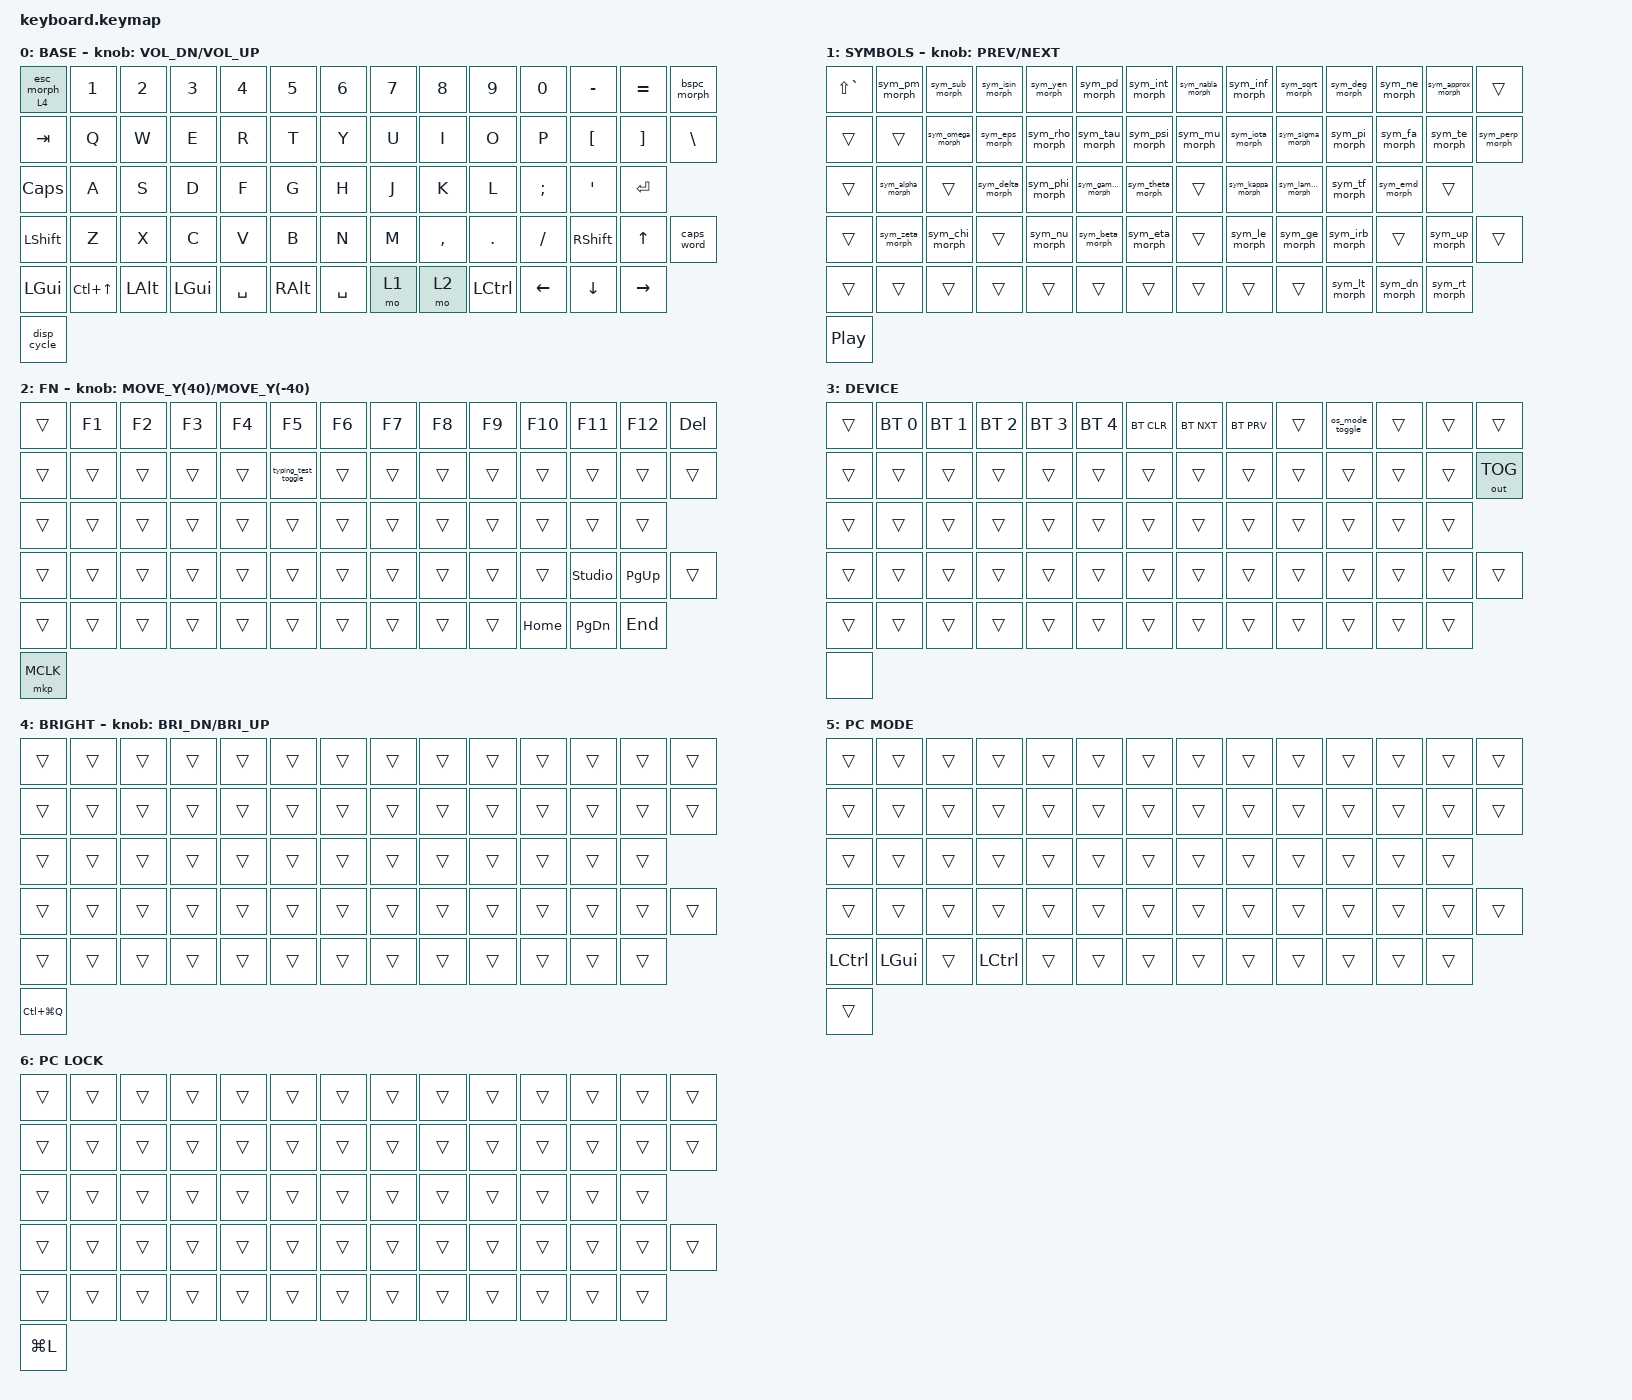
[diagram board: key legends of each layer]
#include <behaviors.dtsi>
#include <dt-bindings/zmk/keys.h>
#include <dt-bindings/zmk/bt.h>
#include <dt-bindings/zmk/outputs.h>
#include <dt-bindings/zmk/pointing.h>

/* Layer structure (index = declaration order in `keymap { }` below):
 *   0  default_layer — base QWERTY, Mac-correct modifiers (see below)
 *   1  sym_layer     — pure symbol layer (Espanso triggers)  (hold ⊃/COL9, &mo 1)
 *   2  fn_layer      — F-keys, navigation, studio/typing    (hold f/COL10, &mo 2)
 *   3  device_layer   — BT management + Mac/PC mode switch  (conditional: ⊃+f held)
 *   4  esc_layer      — brightness/lock                     (hold Esc)
 *   5  pc_mods        — PC-mode modifier overrides           (&tog 5, from
 *                        device_layer's `0` key)
 *   6  pc_lock_layer  — PC-specific lock shortcut override   (conditional:
 *                        esc_layer(4) + pc_mods(5) both active)
 *   7-9 extra1-3      — reserved for ZMK Studio expansion
 *
 * NOTE: extra1-3 shifted from indices 3-5 to 7-9 in this revision (device_layer,
 * esc_layer, pc_mods, pc_lock_layer were inserted before them). Any existing
 * ZMK Studio customizations on this board are keyed to the OLD indices — run
 * "Restore Stock Settings" in Studio after flashing before re-customizing.
 *
 * Symbols are NOT Unicode-macro'd by the firmware (REVISED — see git history:
 * the original urob/zmk-unicode approach needed macOS's Unicode Hex Input to be
 * the *active* input source, which was unworkable for a user with multiple input
 * sources typing symbols one at a time). Instead, sym_layer keys type a plain
 * ASCII trigger string (e.g. `;;pi`) via ordinary &kp taps, and a host-side text
 * expander (Espanso — https://espanso.org, identical config on macOS/Windows)
 * replaces it with the glyph. This makes symbol output fully OS-agnostic with no
 * firmware-side OS awareness needed at all — see each sym_* macro below and
 * README.md for the full trigger table and Espanso setup.
 *
 * Encoder (sensor index 0) — see keymap.c resolution: highest active layer with a
 * `sensor-bindings` entry wins; layers that omit it fall through to the next one
 * down while still active (e.g. device_layer omits it on purpose; see below).
 *   default      CW=Vol+       CCW=Vol-      push=&disp_cycle (next display mode)
 *   sym (⊃)      CW=next trk   CCW=prev trk  push=play/pause
 *   fn (f)       CW=scroll up  CCW=scroll dn push=middle-click (inverted from
 *                the original CW=down/CCW=up, and 4x speed — see fn_layer)
 *   device (⊃+f) — no sensor-bindings; rotation falls through to fn_layer's
 *                  scroll (harmless — same fallthrough philosophy as device_layer's
 *                  &trans key positions). push=&none
 *   esc (hold)   CW=brightness up  CCW=brightness down  push=lock screen
 *                (Ctrl+Cmd+Q on Mac/default; Win+L on PC — see pc_lock_layer)
 *
 * Esc key (base position 0, was &kp GRAVE):
 *   tap            → ESC
 *   shift+tap      → ` (GRAVE, via mod-morph)
 *   ⊃ held+tap     → ~ (LS(GRAVE), lives on sym_layer, not this behavior)
 *   hold           → esc_layer (brightness/lock)
 *
 * Row3/COL14 (was &kp DEL) → &caps_word. Delete lives on fn_layer + Backspace.
 * combo_sys_reset still targets key position 54 (now the Caps Word key) — combos
 * bind by physical position, not by what's currently bound there.
 *
 * Mac/PC modifier profile (PRD v2 §2): boot default is now PC/WINDOWS.
 * default_layer's Row4 is still Mac-correct (sends Cmd/Mission Control
 * directly); PC is reached by pc_mods (layer 5) sitting on top, and
 * behavior_os_mode.c activates that layer at boot unless flash holds a stored
 * "Mac" choice. device_layer `0` → &os_mode_toggle: a two-state flip (PC <->
 * Mac) that ALSO writes the new state to settings/NVS so it survives a reboot
 * or firmware reset. Safe as a flip because it's the only binding involved and
 * only exists on the momentary device layer — it can never fire during normal
 * typing (pc_mods is &trans at that position, so `0` always types a zero
 * outside of holding ⊃+f). Right `<>` (COL11) deliberately stays Control in
 * both modes — see pc_mods layer comment below. */

/ {
    behaviors {
        /* Sensor-rotate behavior using &msc (mouse scroll) for the fn_layer.
         *
         * REVISION: 32ms (my first attempt) fixed the "queue always cancels
         * before any tick runs" bug (see below) but was still nowhere near
         * enough — it produced literally zero visible scroll. Traced the
         * exact numbers via source (behavior_input_two_axis.c) rather than
         * guessing again: with SCRL_UP/SCRL_DOWN's default speed value
         * (ZMK_POINTING_DEFAULT_SCRL_VAL = 10, dt-bindings/zmk/pointing.h)
         * and &msc's trigger-period-ms (16ms, mouse_scroll.dtsi, unmodified
         * — this project doesn't override the stock &msc node) and
         * acceleration-exponent=0 (uniform speed), each 16ms tick computes
         * move = speed * trigger_period_ms / 1000 = 10*16/1000 = 0.16 — and
         * track_remainder() truncates to an integer HID delta each tick, so
         * a SINGLE tick never emits anything; the fractional 0.16 has to
         * accumulate across MULTIPLE ticks before crossing 1.0. Worked out
         * precisely: tick 7 (112ms of continuous "press") is the first tick
         * that ever emits a real unit; tick 13 (208ms) the second. 32ms only
         * covered ticks 1-2, both emitting exactly 0 — hence "zero movement,
         * ever," not "weak movement." tap-ms=220 covers both the 112ms and
         * 208ms thresholds with margin, giving ~2 real scroll units per
         * detent. This value trades off directly against real-time feel per
         * click; raise it for a stronger scroll per detent, lower it (not
         * below ~120ms) for a lighter one — but don't go below ~112ms or
         * you're back to the "nothing happens" case for slow/light turns. */
        inc_dec_msc: inc_dec_msc {
            compatible = "zmk,behavior-sensor-rotate-var";
            #sensor-binding-cells = <2>;
            tap-ms = <220>;
            bindings = <&msc>, <&msc>;
        };

        /* Display-mode cycle behavior (encoder push, default layer only). */
        disp_cycle: disp_cycle {
            compatible = "zmk,behavior-disp-cycle";
            #binding-cells = <0>;
            tapping-term-ms = <500>;
        };

        /* Typing-test toggle behavior (fn_layer, T). */
        typing_test_toggle: typing_test_toggle {
            compatible = "zmk,behavior-typing-test";
            #binding-cells = <0>;
        };

        /* Mac/PC OS-mode toggle (device_layer, `0`) — PRD v2 §2.
         * Flips pc_mods (layer 5) like the old &tog 5, but also persists the
         * choice to settings/NVS and restores it on boot. Boot default (no
         * stored value) is PC/Windows. See behavior_os_mode.c. */
        os_mode_toggle: os_mode_toggle {
            compatible = "zmk,behavior-os-mode";
            #binding-cells = <0>;
            layer = <5>;
        };

        /* Esc key: tap → ESC, shift+tap → GRAVE. Tap side of esc_ht below. */
        esc_morph: esc_morph {
            compatible = "zmk,behavior-mod-morph";
            #binding-cells = <0>;
            bindings = <&kp ESC>, <&kp GRAVE>;
            mods = <(MOD_LSFT|MOD_RSFT)>;
        };

        /* Esc key: hold → esc_layer (index 4). Tap → esc_morph above.
         * esc_morph takes 0 params; the tap-side param at the use site
         * (`&esc_ht 4 0`) is a required-but-unread dummy — verified against
         * behavior_hold_tap.c / behavior_mod_morph.c: mod-morph's parameter
         * metadata is explicitly empty (zmk_behavior_get_empty_param_metadata)
         * and its handler never reads binding->param1. */
        esc_ht: esc_hold_tap {
            compatible = "zmk,behavior-hold-tap";
            #binding-cells = <2>;
            flavor = "tap-preferred";
            tapping-term-ms = <200>;
            bindings = <&mo>, <&esc_morph>;
            display-name = "Esc Hold-Tap";
        };

        /* Suppresses Shift from the outgoing HID report between press and
         * release — see behaviors/behavior_shift_mask.c. Used inside all
         * 45 "_upper"/"_shift" macros below, invoked from &shift_branch
         * (behavior_shift_branch.c), not zmk,behavior-mod-morph — see the
         * "Uppercase Greek" comment below for why plain mod-morph doesn't
         * work here. */
        shift_mask: shift_mask {
            compatible = "zmk,behavior-shift-mask";
            #binding-cells = <0>;
        };

        /* sym_layer symbol macros — each types a plain ASCII Espanso trigger
         * (";;" + mnemonic), which a host-side Espanso match file (see
         * espanso/symbols.yml and README.md) expands into the actual glyph.
         * Naming convention: sym_<trigger-without-;;>. wait-ms/tap-ms start at
         * 5ms — Espanso has to see each individual keystroke to detect the
         * trigger, and firmware injection is much faster than human typing;
         * raise these (10-15) if triggers get missed in testing before
         * assuming anything else is wrong. Never wrap these in anything that
         * could apply Shift — a shifted trigger (e.g. "::PI") won't match and
         * will emit literal junk instead.
         *
         * Confirmed working end-to-end (both macOS and Windows/Espanso) as of
         * the commit that wired up the first 3 (sym_pi/sym_isin/sym_rt); all
         * 45 are now defined and wired into sym_layer below. */
        ZMK_MACRO(sym_pi, wait-ms = <5>; tap-ms = <5>;
                  bindings = <&kp SEMI &kp SEMI &kp P &kp I>;)
        ZMK_MACRO(sym_isin, wait-ms = <5>; tap-ms = <5>;
                  bindings = <&kp SEMI &kp SEMI &kp I &kp S &kp I &kp N>;)
        ZMK_MACRO(sym_rt, wait-ms = <5>; tap-ms = <5>;
                  bindings = <&kp SEMI &kp SEMI &kp R &kp T>;)

        /* ── Greek letters ──────────────────────────────────────────── */
        ZMK_MACRO(sym_alpha, wait-ms = <5>; tap-ms = <5>;
                  bindings = <&kp SEMI &kp SEMI &kp A &kp L &kp P &kp H &kp A>;)
        ZMK_MACRO(sym_beta, wait-ms = <5>; tap-ms = <5>;
                  bindings = <&kp SEMI &kp SEMI &kp B &kp E &kp T &kp A>;)
        ZMK_MACRO(sym_gamma, wait-ms = <5>; tap-ms = <5>;
                  bindings = <&kp SEMI &kp SEMI &kp G &kp A &kp M &kp M &kp A>;)
        ZMK_MACRO(sym_delta, wait-ms = <5>; tap-ms = <5>;
                  bindings = <&kp SEMI &kp SEMI &kp D &kp E &kp L &kp T &kp A>;)
        ZMK_MACRO(sym_eps, wait-ms = <5>; tap-ms = <5>;
                  bindings = <&kp SEMI &kp SEMI &kp E &kp P &kp S>;)
        ZMK_MACRO(sym_zeta, wait-ms = <5>; tap-ms = <5>;
                  bindings = <&kp SEMI &kp SEMI &kp Z &kp E &kp T &kp A>;)
        ZMK_MACRO(sym_eta, wait-ms = <5>; tap-ms = <5>;
                  bindings = <&kp SEMI &kp SEMI &kp E &kp T &kp A>;)
        ZMK_MACRO(sym_theta, wait-ms = <5>; tap-ms = <5>;
                  bindings = <&kp SEMI &kp SEMI &kp T &kp H &kp E &kp T &kp A>;)
        ZMK_MACRO(sym_iota, wait-ms = <5>; tap-ms = <5>;
                  bindings = <&kp SEMI &kp SEMI &kp I &kp O &kp T &kp A>;)
        ZMK_MACRO(sym_kappa, wait-ms = <5>; tap-ms = <5>;
                  bindings = <&kp SEMI &kp SEMI &kp K &kp A &kp P &kp P &kp A>;)
        ZMK_MACRO(sym_lambda, wait-ms = <5>; tap-ms = <5>;
                  bindings = <&kp SEMI &kp SEMI &kp L &kp A &kp M &kp B &kp D &kp A>;)
        ZMK_MACRO(sym_mu, wait-ms = <5>; tap-ms = <5>;
                  bindings = <&kp SEMI &kp SEMI &kp M &kp U>;)
        ZMK_MACRO(sym_nu, wait-ms = <5>; tap-ms = <5>;
                  bindings = <&kp SEMI &kp SEMI &kp N &kp U>;)
        ZMK_MACRO(sym_rho, wait-ms = <5>; tap-ms = <5>;
                  bindings = <&kp SEMI &kp SEMI &kp R &kp H &kp O>;)
        ZMK_MACRO(sym_sigma, wait-ms = <5>; tap-ms = <5>;
                  bindings = <&kp SEMI &kp SEMI &kp S &kp I &kp G &kp M &kp A>;)
        ZMK_MACRO(sym_tau, wait-ms = <5>; tap-ms = <5>;
                  bindings = <&kp SEMI &kp SEMI &kp T &kp A &kp U>;)
        ZMK_MACRO(sym_phi, wait-ms = <5>; tap-ms = <5>;
                  bindings = <&kp SEMI &kp SEMI &kp P &kp H &kp I>;)
        ZMK_MACRO(sym_chi, wait-ms = <5>; tap-ms = <5>;
                  bindings = <&kp SEMI &kp SEMI &kp C &kp H &kp I>;)
        ZMK_MACRO(sym_psi, wait-ms = <5>; tap-ms = <5>;
                  bindings = <&kp SEMI &kp SEMI &kp P &kp S &kp I>;)
        ZMK_MACRO(sym_omega, wait-ms = <5>; tap-ms = <5>;
                  bindings = <&kp SEMI &kp SEMI &kp O &kp M &kp E &kp G &kp A>;)

        /* ── Uppercase Greek: ⊃ + Shift + letter ──────────────────────
         * Each Greek key position (in sym_layer, below) is wrapped in a
         * &shift_branch (behaviors/behavior_shift_branch.c) that picks
         * between the lowercase macro above and one of these "_upper"
         * macros when Shift is held.
         *
         * REVISION 1: originally used &shift_mask alone, invoked by a
         * plain zmk,behavior-mod-morph — broke the moment Shift was held
         * across MULTIPLE letters (the normal "hold shift, type several
         * capitals" gesture), because these macros' queued keystroke
         * sequences run asynchronously and can take longer to drain than
         * the physical letter key is held.
         *
         * REVISION 2: adding &shift_mask (invoked via &macro_press/
         * &macro_release inside each macro, scoped to that macro's own
         * start-to-finish window) was necessary but NOT sufficient —
         * mod-morph's own on_mod_morph_binding_released() ALSO
         * unconditionally calls zmk_hid_masked_modifiers_clear() tied to
         * the physical letter key's release. Both mechanisms write the
         * SAME global masked_modifiers variable (zmk/hid.c) — a flat
         * set/clear, not reference-counted — so mod-morph's own clear
         * could still fire in the middle of a macro's masked window and
         * wipe it out early, letting the tail of the trigger text go out
         * shifted again. Confirmed as the actual reason it kept breaking.
         *
         * FIX: &shift_branch is a mod-morph clone with the masking side
         * effect surgically removed — it does ONLY the branching
         * decision. &shift_mask (still invoked from inside each macro,
         * unchanged) is now the ONLY thing touching masked_modifiers, so
         * nothing competes with it. This doesn't touch real key-press
         * state (unlike explicitly injecting &kp LSHFT release/press), so
         * there's no risk of Shift getting "stuck" held if released
         * mid-macro — masking is a pure real-time filter that stops
         * applying the instant &shift_mask itself releases.
         *
         * Trigger text distinguishing: these still need their own
         * distinct trigger rather than relying on case, since masking
         * makes the actual keystrokes sent lowercase-shaped regardless of
         * Shift. ";;;" (3 semicolons, vs. 2 for lowercase) is the
         * distinguishing prefix. Verified: no 2-semi trigger is a prefix
         * of a 3-semi one (they diverge at the 3rd character - ';' vs a
         * letter - for every pair), and no 3-semi trigger is a prefix of
         * another for the same reason the lowercase set already isn't
         * (see espanso/symbols.yml). */
        ZMK_MACRO(sym_alpha_upper, wait-ms = <5>; tap-ms = <5>;
                  bindings = <&macro_press &shift_mask
                              &macro_tap &kp SEMI &kp SEMI &kp SEMI &kp A &kp L &kp P &kp H &kp A
                              &macro_release &shift_mask>;)
        ZMK_MACRO(sym_beta_upper, wait-ms = <5>; tap-ms = <5>;
                  bindings = <&macro_press &shift_mask
                              &macro_tap &kp SEMI &kp SEMI &kp SEMI &kp B &kp E &kp T &kp A
                              &macro_release &shift_mask>;)
        ZMK_MACRO(sym_gamma_upper, wait-ms = <5>; tap-ms = <5>;
                  bindings = <&macro_press &shift_mask
                              &macro_tap &kp SEMI &kp SEMI &kp SEMI &kp G &kp A &kp M &kp M &kp A
                              &macro_release &shift_mask>;)
        ZMK_MACRO(sym_delta_upper, wait-ms = <5>; tap-ms = <5>;
                  bindings = <&macro_press &shift_mask
                              &macro_tap &kp SEMI &kp SEMI &kp SEMI &kp D &kp E &kp L &kp T &kp A
                              &macro_release &shift_mask>;)
        ZMK_MACRO(sym_eps_upper, wait-ms = <5>; tap-ms = <5>;
                  bindings = <&macro_press &shift_mask
                              &macro_tap &kp SEMI &kp SEMI &kp SEMI &kp E &kp P &kp S
                              &macro_release &shift_mask>;)
        ZMK_MACRO(sym_zeta_upper, wait-ms = <5>; tap-ms = <5>;
                  bindings = <&macro_press &shift_mask
                              &macro_tap &kp SEMI &kp SEMI &kp SEMI &kp Z &kp E &kp T &kp A
                              &macro_release &shift_mask>;)
        ZMK_MACRO(sym_eta_upper, wait-ms = <5>; tap-ms = <5>;
                  bindings = <&macro_press &shift_mask
                              &macro_tap &kp SEMI &kp SEMI &kp SEMI &kp E &kp T &kp A
                              &macro_release &shift_mask>;)
        ZMK_MACRO(sym_theta_upper, wait-ms = <5>; tap-ms = <5>;
                  bindings = <&macro_press &shift_mask
                              &macro_tap &kp SEMI &kp SEMI &kp SEMI &kp T &kp H &kp E &kp T &kp A
                              &macro_release &shift_mask>;)
        ZMK_MACRO(sym_iota_upper, wait-ms = <5>; tap-ms = <5>;
                  bindings = <&macro_press &shift_mask
                              &macro_tap &kp SEMI &kp SEMI &kp SEMI &kp I &kp O &kp T &kp A
                              &macro_release &shift_mask>;)
        ZMK_MACRO(sym_kappa_upper, wait-ms = <5>; tap-ms = <5>;
                  bindings = <&macro_press &shift_mask
                              &macro_tap &kp SEMI &kp SEMI &kp SEMI &kp K &kp A &kp P &kp P &kp A
                              &macro_release &shift_mask>;)
        ZMK_MACRO(sym_lambda_upper, wait-ms = <5>; tap-ms = <5>;
                  bindings = <&macro_press &shift_mask
                              &macro_tap &kp SEMI &kp SEMI &kp SEMI &kp L &kp A &kp M &kp B &kp D &kp A
                              &macro_release &shift_mask>;)
        ZMK_MACRO(sym_mu_upper, wait-ms = <5>; tap-ms = <5>;
                  bindings = <&macro_press &shift_mask
                              &macro_tap &kp SEMI &kp SEMI &kp SEMI &kp M &kp U
                              &macro_release &shift_mask>;)
        ZMK_MACRO(sym_nu_upper, wait-ms = <5>; tap-ms = <5>;
                  bindings = <&macro_press &shift_mask
                              &macro_tap &kp SEMI &kp SEMI &kp SEMI &kp N &kp U
                              &macro_release &shift_mask>;)
        ZMK_MACRO(sym_pi_upper, wait-ms = <5>; tap-ms = <5>;
                  bindings = <&macro_press &shift_mask
                              &macro_tap &kp SEMI &kp SEMI &kp SEMI &kp P &kp I
                              &macro_release &shift_mask>;)
        ZMK_MACRO(sym_rho_upper, wait-ms = <5>; tap-ms = <5>;
                  bindings = <&macro_press &shift_mask
                              &macro_tap &kp SEMI &kp SEMI &kp SEMI &kp R &kp H &kp O
                              &macro_release &shift_mask>;)
        ZMK_MACRO(sym_sigma_upper, wait-ms = <5>; tap-ms = <5>;
                  bindings = <&macro_press &shift_mask
                              &macro_tap &kp SEMI &kp SEMI &kp SEMI &kp S &kp I &kp G &kp M &kp A
                              &macro_release &shift_mask>;)
        ZMK_MACRO(sym_tau_upper, wait-ms = <5>; tap-ms = <5>;
                  bindings = <&macro_press &shift_mask
                              &macro_tap &kp SEMI &kp SEMI &kp SEMI &kp T &kp A &kp U
                              &macro_release &shift_mask>;)
        ZMK_MACRO(sym_phi_upper, wait-ms = <5>; tap-ms = <5>;
                  bindings = <&macro_press &shift_mask
                              &macro_tap &kp SEMI &kp SEMI &kp SEMI &kp P &kp H &kp I
                              &macro_release &shift_mask>;)
        ZMK_MACRO(sym_chi_upper, wait-ms = <5>; tap-ms = <5>;
                  bindings = <&macro_press &shift_mask
                              &macro_tap &kp SEMI &kp SEMI &kp SEMI &kp C &kp H &kp I
                              &macro_release &shift_mask>;)
        ZMK_MACRO(sym_psi_upper, wait-ms = <5>; tap-ms = <5>;
                  bindings = <&macro_press &shift_mask
                              &macro_tap &kp SEMI &kp SEMI &kp SEMI &kp P &kp S &kp I
                              &macro_release &shift_mask>;)
        ZMK_MACRO(sym_omega_upper, wait-ms = <5>; tap-ms = <5>;
                  bindings = <&macro_press &shift_mask
                              &macro_tap &kp SEMI &kp SEMI &kp SEMI &kp O &kp M &kp E &kp G &kp A
                              &macro_release &shift_mask>;)

        sym_alpha_morph: sym_alpha_morph {
            compatible = "zmk,behavior-shift-branch";
            #binding-cells = <0>;
            bindings = <&sym_alpha>, <&sym_alpha_upper>;
            mods = <(MOD_LSFT|MOD_RSFT)>;
        };
        sym_beta_morph: sym_beta_morph {
            compatible = "zmk,behavior-shift-branch";
            #binding-cells = <0>;
            bindings = <&sym_beta>, <&sym_beta_upper>;
            mods = <(MOD_LSFT|MOD_RSFT)>;
        };
        sym_gamma_morph: sym_gamma_morph {
            compatible = "zmk,behavior-shift-branch";
            #binding-cells = <0>;
            bindings = <&sym_gamma>, <&sym_gamma_upper>;
            mods = <(MOD_LSFT|MOD_RSFT)>;
        };
        sym_delta_morph: sym_delta_morph {
            compatible = "zmk,behavior-shift-branch";
            #binding-cells = <0>;
            bindings = <&sym_delta>, <&sym_delta_upper>;
            mods = <(MOD_LSFT|MOD_RSFT)>;
        };
        sym_eps_morph: sym_eps_morph {
            compatible = "zmk,behavior-shift-branch";
            #binding-cells = <0>;
            bindings = <&sym_eps>, <&sym_eps_upper>;
            mods = <(MOD_LSFT|MOD_RSFT)>;
        };
        sym_zeta_morph: sym_zeta_morph {
            compatible = "zmk,behavior-shift-branch";
            #binding-cells = <0>;
            bindings = <&sym_zeta>, <&sym_zeta_upper>;
            mods = <(MOD_LSFT|MOD_RSFT)>;
        };
        sym_eta_morph: sym_eta_morph {
            compatible = "zmk,behavior-shift-branch";
            #binding-cells = <0>;
            bindings = <&sym_eta>, <&sym_eta_upper>;
            mods = <(MOD_LSFT|MOD_RSFT)>;
        };
        sym_theta_morph: sym_theta_morph {
            compatible = "zmk,behavior-shift-branch";
            #binding-cells = <0>;
            bindings = <&sym_theta>, <&sym_theta_upper>;
            mods = <(MOD_LSFT|MOD_RSFT)>;
        };
        sym_iota_morph: sym_iota_morph {
            compatible = "zmk,behavior-shift-branch";
            #binding-cells = <0>;
            bindings = <&sym_iota>, <&sym_iota_upper>;
            mods = <(MOD_LSFT|MOD_RSFT)>;
        };
        sym_kappa_morph: sym_kappa_morph {
            compatible = "zmk,behavior-shift-branch";
            #binding-cells = <0>;
            bindings = <&sym_kappa>, <&sym_kappa_upper>;
            mods = <(MOD_LSFT|MOD_RSFT)>;
        };
        sym_lambda_morph: sym_lambda_morph {
            compatible = "zmk,behavior-shift-branch";
            #binding-cells = <0>;
            bindings = <&sym_lambda>, <&sym_lambda_upper>;
            mods = <(MOD_LSFT|MOD_RSFT)>;
        };
        sym_mu_morph: sym_mu_morph {
            compatible = "zmk,behavior-shift-branch";
            #binding-cells = <0>;
            bindings = <&sym_mu>, <&sym_mu_upper>;
            mods = <(MOD_LSFT|MOD_RSFT)>;
        };
        sym_nu_morph: sym_nu_morph {
            compatible = "zmk,behavior-shift-branch";
            #binding-cells = <0>;
            bindings = <&sym_nu>, <&sym_nu_upper>;
            mods = <(MOD_LSFT|MOD_RSFT)>;
        };
        sym_pi_morph: sym_pi_morph {
            compatible = "zmk,behavior-shift-branch";
            #binding-cells = <0>;
            bindings = <&sym_pi>, <&sym_pi_upper>;
            mods = <(MOD_LSFT|MOD_RSFT)>;
        };
        sym_rho_morph: sym_rho_morph {
            compatible = "zmk,behavior-shift-branch";
            #binding-cells = <0>;
            bindings = <&sym_rho>, <&sym_rho_upper>;
            mods = <(MOD_LSFT|MOD_RSFT)>;
        };
        sym_sigma_morph: sym_sigma_morph {
            compatible = "zmk,behavior-shift-branch";
            #binding-cells = <0>;
            bindings = <&sym_sigma>, <&sym_sigma_upper>;
            mods = <(MOD_LSFT|MOD_RSFT)>;
        };
        sym_tau_morph: sym_tau_morph {
            compatible = "zmk,behavior-shift-branch";
            #binding-cells = <0>;
            bindings = <&sym_tau>, <&sym_tau_upper>;
            mods = <(MOD_LSFT|MOD_RSFT)>;
        };
        sym_phi_morph: sym_phi_morph {
            compatible = "zmk,behavior-shift-branch";
            #binding-cells = <0>;
            bindings = <&sym_phi>, <&sym_phi_upper>;
            mods = <(MOD_LSFT|MOD_RSFT)>;
        };
        sym_chi_morph: sym_chi_morph {
            compatible = "zmk,behavior-shift-branch";
            #binding-cells = <0>;
            bindings = <&sym_chi>, <&sym_chi_upper>;
            mods = <(MOD_LSFT|MOD_RSFT)>;
        };
        sym_psi_morph: sym_psi_morph {
            compatible = "zmk,behavior-shift-branch";
            #binding-cells = <0>;
            bindings = <&sym_psi>, <&sym_psi_upper>;
            mods = <(MOD_LSFT|MOD_RSFT)>;
        };
        sym_omega_morph: sym_omega_morph {
            compatible = "zmk,behavior-shift-branch";
            #binding-cells = <0>;
            bindings = <&sym_omega>, <&sym_omega_upper>;
            mods = <(MOD_LSFT|MOD_RSFT)>;
        };

        /* ── Number row: math / logic ──────────────────────────────── */
        ZMK_MACRO(sym_pm, wait-ms = <5>; tap-ms = <5>;
                  bindings = <&kp SEMI &kp SEMI &kp P &kp M>;)
        ZMK_MACRO(sym_sub, wait-ms = <5>; tap-ms = <5>;
                  bindings = <&kp SEMI &kp SEMI &kp S &kp U &kp B>;)
        ZMK_MACRO(sym_yen, wait-ms = <5>; tap-ms = <5>;
                  bindings = <&kp SEMI &kp SEMI &kp Y &kp E &kp N>;)
        ZMK_MACRO(sym_pd, wait-ms = <5>; tap-ms = <5>;
                  bindings = <&kp SEMI &kp SEMI &kp P &kp D>;)
        ZMK_MACRO(sym_int, wait-ms = <5>; tap-ms = <5>;
                  bindings = <&kp SEMI &kp SEMI &kp I &kp N &kp T>;)
        ZMK_MACRO(sym_nabla, wait-ms = <5>; tap-ms = <5>;
                  bindings = <&kp SEMI &kp SEMI &kp N &kp A &kp B &kp L &kp A>;)
        ZMK_MACRO(sym_inf, wait-ms = <5>; tap-ms = <5>;
                  bindings = <&kp SEMI &kp SEMI &kp I &kp N &kp F>;)
        ZMK_MACRO(sym_sqrt, wait-ms = <5>; tap-ms = <5>;
                  bindings = <&kp SEMI &kp SEMI &kp S &kp Q &kp R &kp T>;)
        ZMK_MACRO(sym_deg, wait-ms = <5>; tap-ms = <5>;
                  bindings = <&kp SEMI &kp SEMI &kp D &kp E &kp G>;)
        ZMK_MACRO(sym_ne, wait-ms = <5>; tap-ms = <5>;
                  bindings = <&kp SEMI &kp SEMI &kp N &kp E>;)
        ZMK_MACRO(sym_approx, wait-ms = <5>; tap-ms = <5>;
                  bindings = <&kp SEMI &kp SEMI &kp A &kp P &kp P &kp R &kp O &kp X>;)

        /* ── Brackets & punctuation ────────────────────────────────── */
        ZMK_MACRO(sym_fa, wait-ms = <5>; tap-ms = <5>;
                  bindings = <&kp SEMI &kp SEMI &kp F &kp A>;)
        ZMK_MACRO(sym_te, wait-ms = <5>; tap-ms = <5>;
                  bindings = <&kp SEMI &kp SEMI &kp T &kp E>;)
        ZMK_MACRO(sym_perp, wait-ms = <5>; tap-ms = <5>;
                  bindings = <&kp SEMI &kp SEMI &kp P &kp E &kp R &kp P>;)
        ZMK_MACRO(sym_tf, wait-ms = <5>; tap-ms = <5>;
                  bindings = <&kp SEMI &kp SEMI &kp T &kp F>;)
        ZMK_MACRO(sym_emd, wait-ms = <5>; tap-ms = <5>;
                  bindings = <&kp SEMI &kp SEMI &kp E &kp M &kp D>;)
        ZMK_MACRO(sym_le, wait-ms = <5>; tap-ms = <5>;
                  bindings = <&kp SEMI &kp SEMI &kp L &kp E>;)
        ZMK_MACRO(sym_ge, wait-ms = <5>; tap-ms = <5>;
                  bindings = <&kp SEMI &kp SEMI &kp G &kp E>;)
        ZMK_MACRO(sym_irb, wait-ms = <5>; tap-ms = <5>;
                  bindings = <&kp SEMI &kp SEMI &kp I &kp R &kp B>;)

        /* ── Arrows ────────────────────────────────────────────────── */
        ZMK_MACRO(sym_up, wait-ms = <5>; tap-ms = <5>;
                  bindings = <&kp SEMI &kp SEMI &kp U &kp P>;)
        ZMK_MACRO(sym_dn, wait-ms = <5>; tap-ms = <5>;
                  bindings = <&kp SEMI &kp SEMI &kp D &kp N>;)
        ZMK_MACRO(sym_lt, wait-ms = <5>; tap-ms = <5>;
                  bindings = <&kp SEMI &kp SEMI &kp L &kp T>;)

        /* ── Shift variants for the remaining 24 symbols ──────────────
         * Same mechanism as uppercase Greek above: ⊃ + Shift + key gives
         * a second, related symbol via a &shift_branch + &shift_mask-wrapped
         * macro (see the "Uppercase Greek" comment above for why plain
         * mod-morph doesn't work for this). Naming here is "_shift" rather
         * than "_upper" since these
         * aren't case pairs of one glyph, just a second assigned symbol
         * per key. New symbols and mnemonics (mnemonic is unrelated to
         * the base key's own mnemonic on purpose, so it reads on its own
         * in espanso/symbols.yml):
         *   ± → ⇔ iff        ⊆ → ⊂ psub       ∈ → ∉ nisin      ¥ → € eur
         *   ∂ → ⨀ odot       ∫ → ∮ cint        ∇ → ⊗ otimes     ∞ → ∝ prop
         *   √ → ✓ check      ° → ∅ empty       ≠ → ¬ not        ≈ → ≡ equiv
         *   ∀ → ∧ and        ∃ → ∨ or          ⊥ → ∥ par        — → – endash
         *   ∴ → ∵ bcs        ≤ → ≪ ll          ≥ → ≫ gg         ‽ → ¿ iq
         *   ↑ → ∩ cap        → → ⇒ imp         ↓ → ∪ cup        ← → ⇐ bimp
         * NOTE on → and ←: as given, both were written mapping to the same
         * leftward double arrow (⇐) — almost certainly a copy/paste slip,
         * since ← already naturally pairs with ⇐. Implemented → as ⇒
         * (rightwards double arrow) instead, the consistent counterpart.
         * Flag if that's not what was meant. */
        ZMK_MACRO(sym_pm_shift, wait-ms = <5>; tap-ms = <5>;
                  bindings = <&macro_press &shift_mask
                              &macro_tap &kp SEMI &kp SEMI &kp SEMI &kp I &kp F &kp F
                              &macro_release &shift_mask>;)
        ZMK_MACRO(sym_sub_shift, wait-ms = <5>; tap-ms = <5>;
                  bindings = <&macro_press &shift_mask
                              &macro_tap &kp SEMI &kp SEMI &kp SEMI &kp P &kp S &kp U &kp B
                              &macro_release &shift_mask>;)
        ZMK_MACRO(sym_isin_shift, wait-ms = <5>; tap-ms = <5>;
                  bindings = <&macro_press &shift_mask
                              &macro_tap &kp SEMI &kp SEMI &kp SEMI &kp N &kp I &kp S &kp I &kp N
                              &macro_release &shift_mask>;)
        ZMK_MACRO(sym_yen_shift, wait-ms = <5>; tap-ms = <5>;
                  bindings = <&macro_press &shift_mask
                              &macro_tap &kp SEMI &kp SEMI &kp SEMI &kp E &kp U &kp R
                              &macro_release &shift_mask>;)
        ZMK_MACRO(sym_pd_shift, wait-ms = <5>; tap-ms = <5>;
                  bindings = <&macro_press &shift_mask
                              &macro_tap &kp SEMI &kp SEMI &kp SEMI &kp O &kp D &kp O &kp T
                              &macro_release &shift_mask>;)
        ZMK_MACRO(sym_int_shift, wait-ms = <5>; tap-ms = <5>;
                  bindings = <&macro_press &shift_mask
                              &macro_tap &kp SEMI &kp SEMI &kp SEMI &kp C &kp I &kp N &kp T
                              &macro_release &shift_mask>;)
        ZMK_MACRO(sym_nabla_shift, wait-ms = <5>; tap-ms = <5>;
                  bindings = <&macro_press &shift_mask
                              &macro_tap &kp SEMI &kp SEMI &kp SEMI &kp O &kp T &kp I &kp M &kp E &kp S
                              &macro_release &shift_mask>;)
        ZMK_MACRO(sym_inf_shift, wait-ms = <5>; tap-ms = <5>;
                  bindings = <&macro_press &shift_mask
                              &macro_tap &kp SEMI &kp SEMI &kp SEMI &kp P &kp R &kp O &kp P
                              &macro_release &shift_mask>;)
        ZMK_MACRO(sym_sqrt_shift, wait-ms = <5>; tap-ms = <5>;
                  bindings = <&macro_press &shift_mask
                              &macro_tap &kp SEMI &kp SEMI &kp SEMI &kp C &kp H &kp E &kp C &kp K
                              &macro_release &shift_mask>;)
        ZMK_MACRO(sym_deg_shift, wait-ms = <5>; tap-ms = <5>;
                  bindings = <&macro_press &shift_mask
                              &macro_tap &kp SEMI &kp SEMI &kp SEMI &kp E &kp M &kp P &kp T &kp Y
                              &macro_release &shift_mask>;)
        ZMK_MACRO(sym_ne_shift, wait-ms = <5>; tap-ms = <5>;
                  bindings = <&macro_press &shift_mask
                              &macro_tap &kp SEMI &kp SEMI &kp SEMI &kp N &kp O &kp T
                              &macro_release &shift_mask>;)
        ZMK_MACRO(sym_approx_shift, wait-ms = <5>; tap-ms = <5>;
                  bindings = <&macro_press &shift_mask
                              &macro_tap &kp SEMI &kp SEMI &kp SEMI &kp E &kp Q &kp U &kp I &kp V
                              &macro_release &shift_mask>;)
        ZMK_MACRO(sym_fa_shift, wait-ms = <5>; tap-ms = <5>;
                  bindings = <&macro_press &shift_mask
                              &macro_tap &kp SEMI &kp SEMI &kp SEMI &kp A &kp N &kp D
                              &macro_release &shift_mask>;)
        ZMK_MACRO(sym_te_shift, wait-ms = <5>; tap-ms = <5>;
                  bindings = <&macro_press &shift_mask
                              &macro_tap &kp SEMI &kp SEMI &kp SEMI &kp O &kp R
                              &macro_release &shift_mask>;)
        ZMK_MACRO(sym_perp_shift, wait-ms = <5>; tap-ms = <5>;
                  bindings = <&macro_press &shift_mask
                              &macro_tap &kp SEMI &kp SEMI &kp SEMI &kp P &kp A &kp R
                              &macro_release &shift_mask>;)
        ZMK_MACRO(sym_emd_shift, wait-ms = <5>; tap-ms = <5>;
                  bindings = <&macro_press &shift_mask
                              &macro_tap &kp SEMI &kp SEMI &kp SEMI &kp E &kp N &kp D &kp A &kp S &kp H
                              &macro_release &shift_mask>;)
        ZMK_MACRO(sym_tf_shift, wait-ms = <5>; tap-ms = <5>;
                  bindings = <&macro_press &shift_mask
                              &macro_tap &kp SEMI &kp SEMI &kp SEMI &kp B &kp C &kp S
                              &macro_release &shift_mask>;)
        ZMK_MACRO(sym_le_shift, wait-ms = <5>; tap-ms = <5>;
                  bindings = <&macro_press &shift_mask
                              &macro_tap &kp SEMI &kp SEMI &kp SEMI &kp L &kp L
                              &macro_release &shift_mask>;)
        ZMK_MACRO(sym_ge_shift, wait-ms = <5>; tap-ms = <5>;
                  bindings = <&macro_press &shift_mask
                              &macro_tap &kp SEMI &kp SEMI &kp SEMI &kp G &kp G
                              &macro_release &shift_mask>;)
        ZMK_MACRO(sym_irb_shift, wait-ms = <5>; tap-ms = <5>;
                  bindings = <&macro_press &shift_mask
                              &macro_tap &kp SEMI &kp SEMI &kp SEMI &kp I &kp Q
                              &macro_release &shift_mask>;)
        ZMK_MACRO(sym_up_shift, wait-ms = <5>; tap-ms = <5>;
                  bindings = <&macro_press &shift_mask
                              &macro_tap &kp SEMI &kp SEMI &kp SEMI &kp C &kp A &kp P
                              &macro_release &shift_mask>;)
        ZMK_MACRO(sym_rt_shift, wait-ms = <5>; tap-ms = <5>;
                  bindings = <&macro_press &shift_mask
                              &macro_tap &kp SEMI &kp SEMI &kp SEMI &kp I &kp M &kp P
                              &macro_release &shift_mask>;)
        ZMK_MACRO(sym_dn_shift, wait-ms = <5>; tap-ms = <5>;
                  bindings = <&macro_press &shift_mask
                              &macro_tap &kp SEMI &kp SEMI &kp SEMI &kp C &kp U &kp P
                              &macro_release &shift_mask>;)
        ZMK_MACRO(sym_lt_shift, wait-ms = <5>; tap-ms = <5>;
                  bindings = <&macro_press &shift_mask
                              &macro_tap &kp SEMI &kp SEMI &kp SEMI &kp B &kp I &kp M &kp P
                              &macro_release &shift_mask>;)

        sym_pm_morph: sym_pm_morph {
            compatible = "zmk,behavior-shift-branch";
            #binding-cells = <0>;
            bindings = <&sym_pm>, <&sym_pm_shift>;
            mods = <(MOD_LSFT|MOD_RSFT)>;
        };
        sym_sub_morph: sym_sub_morph {
            compatible = "zmk,behavior-shift-branch";
            #binding-cells = <0>;
            bindings = <&sym_sub>, <&sym_sub_shift>;
            mods = <(MOD_LSFT|MOD_RSFT)>;
        };
        sym_isin_morph: sym_isin_morph {
            compatible = "zmk,behavior-shift-branch";
            #binding-cells = <0>;
            bindings = <&sym_isin>, <&sym_isin_shift>;
            mods = <(MOD_LSFT|MOD_RSFT)>;
        };
        sym_yen_morph: sym_yen_morph {
            compatible = "zmk,behavior-shift-branch";
            #binding-cells = <0>;
            bindings = <&sym_yen>, <&sym_yen_shift>;
            mods = <(MOD_LSFT|MOD_RSFT)>;
        };
        sym_pd_morph: sym_pd_morph {
            compatible = "zmk,behavior-shift-branch";
            #binding-cells = <0>;
            bindings = <&sym_pd>, <&sym_pd_shift>;
            mods = <(MOD_LSFT|MOD_RSFT)>;
        };
        sym_int_morph: sym_int_morph {
            compatible = "zmk,behavior-shift-branch";
            #binding-cells = <0>;
            bindings = <&sym_int>, <&sym_int_shift>;
            mods = <(MOD_LSFT|MOD_RSFT)>;
        };
        sym_nabla_morph: sym_nabla_morph {
            compatible = "zmk,behavior-shift-branch";
            #binding-cells = <0>;
            bindings = <&sym_nabla>, <&sym_nabla_shift>;
            mods = <(MOD_LSFT|MOD_RSFT)>;
        };
        sym_inf_morph: sym_inf_morph {
            compatible = "zmk,behavior-shift-branch";
            #binding-cells = <0>;
            bindings = <&sym_inf>, <&sym_inf_shift>;
            mods = <(MOD_LSFT|MOD_RSFT)>;
        };
        sym_sqrt_morph: sym_sqrt_morph {
            compatible = "zmk,behavior-shift-branch";
            #binding-cells = <0>;
            bindings = <&sym_sqrt>, <&sym_sqrt_shift>;
            mods = <(MOD_LSFT|MOD_RSFT)>;
        };
        sym_deg_morph: sym_deg_morph {
            compatible = "zmk,behavior-shift-branch";
            #binding-cells = <0>;
            bindings = <&sym_deg>, <&sym_deg_shift>;
            mods = <(MOD_LSFT|MOD_RSFT)>;
        };
        sym_ne_morph: sym_ne_morph {
            compatible = "zmk,behavior-shift-branch";
            #binding-cells = <0>;
            bindings = <&sym_ne>, <&sym_ne_shift>;
            mods = <(MOD_LSFT|MOD_RSFT)>;
        };
        sym_approx_morph: sym_approx_morph {
            compatible = "zmk,behavior-shift-branch";
            #binding-cells = <0>;
            bindings = <&sym_approx>, <&sym_approx_shift>;
            mods = <(MOD_LSFT|MOD_RSFT)>;
        };
        sym_fa_morph: sym_fa_morph {
            compatible = "zmk,behavior-shift-branch";
            #binding-cells = <0>;
            bindings = <&sym_fa>, <&sym_fa_shift>;
            mods = <(MOD_LSFT|MOD_RSFT)>;
        };
        sym_te_morph: sym_te_morph {
            compatible = "zmk,behavior-shift-branch";
            #binding-cells = <0>;
            bindings = <&sym_te>, <&sym_te_shift>;
            mods = <(MOD_LSFT|MOD_RSFT)>;
        };
        sym_perp_morph: sym_perp_morph {
            compatible = "zmk,behavior-shift-branch";
            #binding-cells = <0>;
            bindings = <&sym_perp>, <&sym_perp_shift>;
            mods = <(MOD_LSFT|MOD_RSFT)>;
        };
        sym_emd_morph: sym_emd_morph {
            compatible = "zmk,behavior-shift-branch";
            #binding-cells = <0>;
            bindings = <&sym_emd>, <&sym_emd_shift>;
            mods = <(MOD_LSFT|MOD_RSFT)>;
        };
        sym_tf_morph: sym_tf_morph {
            compatible = "zmk,behavior-shift-branch";
            #binding-cells = <0>;
            bindings = <&sym_tf>, <&sym_tf_shift>;
            mods = <(MOD_LSFT|MOD_RSFT)>;
        };
        sym_le_morph: sym_le_morph {
            compatible = "zmk,behavior-shift-branch";
            #binding-cells = <0>;
            bindings = <&sym_le>, <&sym_le_shift>;
            mods = <(MOD_LSFT|MOD_RSFT)>;
        };
        sym_ge_morph: sym_ge_morph {
            compatible = "zmk,behavior-shift-branch";
            #binding-cells = <0>;
            bindings = <&sym_ge>, <&sym_ge_shift>;
            mods = <(MOD_LSFT|MOD_RSFT)>;
        };
        sym_irb_morph: sym_irb_morph {
            compatible = "zmk,behavior-shift-branch";
            #binding-cells = <0>;
            bindings = <&sym_irb>, <&sym_irb_shift>;
            mods = <(MOD_LSFT|MOD_RSFT)>;
        };
        sym_up_morph: sym_up_morph {
            compatible = "zmk,behavior-shift-branch";
            #binding-cells = <0>;
            bindings = <&sym_up>, <&sym_up_shift>;
            mods = <(MOD_LSFT|MOD_RSFT)>;
        };
        sym_rt_morph: sym_rt_morph {
            compatible = "zmk,behavior-shift-branch";
            #binding-cells = <0>;
            bindings = <&sym_rt>, <&sym_rt_shift>;
            mods = <(MOD_LSFT|MOD_RSFT)>;
        };
        sym_dn_morph: sym_dn_morph {
            compatible = "zmk,behavior-shift-branch";
            #binding-cells = <0>;
            bindings = <&sym_dn>, <&sym_dn_shift>;
            mods = <(MOD_LSFT|MOD_RSFT)>;
        };
        sym_lt_morph: sym_lt_morph {
            compatible = "zmk,behavior-shift-branch";
            #binding-cells = <0>;
            bindings = <&sym_lt>, <&sym_lt_shift>;
            mods = <(MOD_LSFT|MOD_RSFT)>;
        };

        /* Shift variant for Backspace: Backspace = normal backspace,
         * Shift+Backspace = forward Delete. Plain &kp mod-morph, no
         * Espanso/macro involved — see default_layer's Backspace position. */
        bspc_morph: bspc_morph {
            compatible = "zmk,behavior-mod-morph";
            #binding-cells = <0>;
            bindings = <&kp BSPC>, <&kp DEL>;
            mods = <(MOD_LSFT|MOD_RSFT)>;
        };
    };

    /* Device layer (index 3) activates only while sym_layer (1) AND fn_layer (2)
     * are both held — i.e. ⊃+f together, neither alone.
     *
     * pc_lock_layer (index 6) activates only while esc_layer (4) AND
     * pc_mods (5) are both active — i.e. holding Esc while already toggled
     * into PC mode. See esc_layer's and pc_lock_layer's comments below
     * for why the PC-specific lock shortcut needs its own scoped layer
     * rather than living directly on pc_mods. */
    conditional_layers {
        compatible = "zmk,conditional-layers";
        device_layer_cond {
            if-layers = <1 2>;
            then-layer = <3>;
        };
        pc_lock_cond {
            if-layers = <4 5>;
            then-layer = <6>;
        };
    };

    /* Safety combos.
     *
     * Key positions (0-based, from the matrix transform):
     *   LSHFT = 41  (Row 3 / COL1)
     *   RSHFT = 52  (Row 3 / COL12)
     *   BSPC  = 13  (Row 0 / COL14)
     *   POS54 = 54  (Row 3 / COL14 / MX55 — now &caps_word, was &kp DEL)
     *
     * combo_bootloader  — LSHFT + RSHFT + BSPC  → &bootloader (enter UF2 mode)
     * combo_sys_reset   — LSHFT + RSHFT + POS54 → &sys_reset  (soft reboot)
     *
     * Combos bind by physical position, not by current binding, so these still
     * work unchanged after POS54's binding changed to &caps_word.
     *
     * REVISION: timeout-ms was 50, and the bootloader combo didn't fire in
     * testing. 50ms is an extremely tight window for THIS specific combo —
     * unlike a typical same-hand combo, LSHFT (bottom-left), RSHFT
     * (bottom-right), and Backspace (top-right) are spread across the full
     * width and height of the board, needing both hands to reach opposite
     * corners. That's very unlikely to land inside 50ms for a human, combo
     * mechanics aside. Raised to 200ms on both combos (sys_reset has the
     * identical LSHFT+RSHFT+far-key shape, so likely has the same problem
     * even though only bootloader was reported) — still requires a
     * deliberate 3-key chord nothing in normal typing would produce by
     * accident, just not a physically-unrealistic one. */
    combos {
        compatible = "zmk,combos";

        combo_bootloader {
            key-positions = <41 52 13>;
            bindings = <&bootloader>;
            timeout-ms = <200>;
        };

        combo_sys_reset {
            key-positions = <41 52 54>;
            bindings = <&sys_reset>;
            timeout-ms = <200>;
        };
    };

    keymap {
        compatible = "zmk,keymap";

        default_layer {
            display-name = "BASE";
            sensor-bindings = <&inc_dec_kp C_VOL_DN C_VOL_UP>;
            bindings = <
/* ── Row 0: number row (COL0 = Esc/hold-tap, was &kp GRAVE; COL14 =
 * &bspc_morph, was &kp BSPC — Shift+Backspace now sends Delete) ───────────── */
&esc_ht 4 0 &kp N1 &kp N2 &kp N3 &kp N4 &kp N5 &kp N6 &kp N7 &kp N8 &kp N9 &kp N0 &kp MINUS &kp EQUAL &bspc_morph
/* ── Row 1: QWERTY ──────────────────────────────────────────────────────────── */
&kp TAB   &kp Q  &kp W  &kp E  &kp R  &kp T  &kp Y  &kp U  &kp I  &kp O  &kp P  &kp LBKT  &kp RBKT  &kp BSLH
/* ── Row 2: home row (13 keys; COL14 omitted — display cutout) ──────────────── */
&kp CAPS  &kp A  &kp S  &kp D  &kp F  &kp G  &kp H  &kp J  &kp K  &kp L  &kp SEMI &kp APOS &kp RET
/* ── Row 3: bottom alpha (COL14/MX55 = &caps_word, was &kp DEL) ─────────────── */
&kp LSHFT &kp Z  &kp X  &kp C  &kp V  &kp B  &kp N  &kp M  &kp COMMA &kp DOT &kp FSLH &kp RSHFT &kp UP &caps_word
/* ── Row 4: modifiers (13 keys; COL7 omitted — physical gap) ───────────────── *
 * COL1     COL2        COL3   COL4(MX59)  COL5        COL6                     *
 * <>/LGUI  ⊞/LC(UP)*   LALT   ⌘/LGUI**    Space1(2u)  ✦/RALT  [gap]            *
 *                  COL8        COL9   COL10  COL11(MX65)  COL12  COL13  COL14   *
 *                  Space2(2u)  ⊃/mo1  f/mo2  <>/LCTRL***   Left   Down   Right  *
 * This row is Mac-correct. pc_mods (layer 5, toggled via device_layer's `0`)  *
 * overrides these to PC when active — and per PRD v2 §2 it is active at boot   *
 * by default (behavior_os_mode.c), so the shipping default is PC/Windows even  *
 * though this row itself is unchanged.                                         *
 * * COL2 (⊞): Mission Control (Ctrl+Up) here, not the Windows key.             *
 * ** MX59 (⌘): sends Cmd directly — pc_mods overrides to Ctrl.                 *
 * *** MX65 (right <>): stays LCTRL in BOTH modes (pc_mods leaves it &trans) —  *
 *     macOS needs a real Control key even in Mac mode, see pc_mods comment.    */
&kp LGUI &kp LC(UP) &kp LALT &kp LGUI &kp SPACE &kp RALT &kp SPACE &mo 1 &mo 2 &kp LCTRL &kp LEFT &kp DOWN &kp RIGHT
/* ── Row 5: encoder push (RC(5,0)) — &disp_cycle ────────────────────────────── */
&disp_cycle
            >;
        };

        sym_layer {
            display-name = "SYMBOLS";
            /* Pure symbol layer (Espanso triggers — see behaviors block,
             * espanso/symbols.yml, and README.md). Nothing else lives here —
             * no F-keys, no BT actions. Q/S/C/J/M are deliberately &trans
             * (not a gap to fill — a prior design decision, do not invent
             * mappings). All 45 symbols confirmed working on real hardware. */
            sensor-bindings = <&inc_dec_kp C_PREV C_NEXT>;
            bindings = <
/* Row 0 — Esc→~; number row math/logic. All _morph — see behaviors block
 * "Shift variants for the remaining 24 symbols". */
&kp LS(GRAVE) &sym_pm_morph &sym_sub_morph &sym_isin_morph &sym_yen_morph &sym_pd_morph &sym_int_morph &sym_nabla_morph &sym_inf_morph &sym_sqrt_morph &sym_deg_morph &sym_ne_morph &sym_approx_morph &trans
/* Row 1 — Greek W-P + brackets/backslash. Q unmapped (deliberate).
 * All _morph — plain tap = base symbol, Shift+tap = shift variant. */
&trans  &trans  &sym_omega_morph  &sym_eps_morph  &sym_rho_morph  &sym_tau_morph  &sym_psi_morph  &sym_mu_morph  &sym_iota_morph  &sym_sigma_morph  &sym_pi_morph  &sym_fa_morph  &sym_te_morph  &sym_perp_morph
/* Row 2 — Greek A,D,F,G,H,K,L + ∴/— ; S,J unmapped (deliberate). */
&trans  &sym_alpha_morph  &trans  &sym_delta_morph  &sym_phi_morph  &sym_gamma_morph  &sym_theta_morph  &trans  &sym_kappa_morph  &sym_lambda_morph  &sym_tf_morph  &sym_emd_morph  &trans
/* Row 3 — Greek Z,X,V,B,N + ≤/≥/‽/↑ ; C,M unmapped (deliberate). */
&trans  &sym_zeta_morph  &sym_chi_morph  &trans  &sym_nu_morph  &sym_beta_morph  &sym_eta_morph  &trans  &sym_le_morph  &sym_ge_morph  &sym_irb_morph  &trans  &sym_up_morph  &trans
/* Row 4 — arrows. Mod positions stay &trans. */
&trans  &trans  &trans  &trans  &trans  &trans  &trans  &trans  &trans  &trans  &sym_lt_morph  &sym_dn_morph  &sym_rt_morph
/* Row 5 — encoder push: play/pause */
&kp C_PP
            >;
        };

        fn_layer {
            display-name = "FN";
            /* Hold f (COL10/mo2) to activate.
             *
             * Number row:  1-9 → F1-F9,  0 → F10,  - → F11,  = → F12,  Bksp → Del
             * Navigation:  Up → PgUp,  Left → Home,  Down → PgDn,  Right → End
             * RSHFT → &studio_unlock (hold f+RShift to unlock Studio)
             * T     → &typing_test_toggle                                      */
            /* Scroll: inverted from the original SCRL_DOWN/SCRL_UP (positions
             * swapped) and 4x speed. Using raw MOVE_Y(±40) instead of the
             * SCRL_UP/SCRL_DOWN macros (which use the shared default speed
             * constant, 10) so this doesn't touch anything global — verified
             * the exact multiplier: at trigger-period-ms=16 (stock &msc) and
             * this tap-ms=220, speed=10 yields 2 real scroll units/detent,
             * speed=40 yields 8 — exactly 4x, not approximate. */
            sensor-bindings = <&inc_dec_msc MOVE_Y(40) MOVE_Y(-40)>;
            bindings = <
/* Row 0 — number row: F1-F12 + Del */
&trans  &kp F1  &kp F2  &kp F3  &kp F4  &kp F5  &kp F6  &kp F7  &kp F8  &kp F9  &kp F10  &kp F11  &kp F12  &kp DEL
/* Row 1 — T (index 5) = &typing_test_toggle; all others transparent */
&trans  &trans  &trans  &trans  &trans  &typing_test_toggle  &trans  &trans  &trans  &trans  &trans  &trans  &trans  &trans
/* Row 2 — home row */
&trans  &trans  &trans  &trans  &trans  &trans  &trans  &trans  &trans  &trans  &trans  &trans  &trans
/* Row 3 — RSHFT (index 11) = &studio_unlock; UP → PgUp */
&trans  &trans  &trans  &trans  &trans  &trans  &trans  &trans  &trans  &trans  &trans  &studio_unlock  &kp PG_UP  &trans
/* Row 4 — arrows: Left → Home, Down → PgDn, Right → End */
&trans  &trans  &trans  &trans  &trans  &trans  &trans  &trans  &trans  &trans  &kp HOME  &kp PG_DN  &kp END
/* Row 5 — encoder push: middle click */
&mkp MCLK
            >;
        };

        device_layer {
            display-name = "DEVICE";
            /* Conditional layer — active only while ⊃+f are BOTH held.
             *
             * Number row:
             *   1-5 → BT profile select 0-4       (wireless device switching)
             *   6   → BT clear current profile
             *   7   → BT_NXT  (cycle forward)
             *   8   → BT_PRV  (cycle backward)
             *   0   → &os_mode_toggle — flip Mac/PC modifier profile (pc_mods)
             *         AND persist it to settings/NVS (PRD v2 §2). Boot default
             *         is PC/Windows (behavior_os_mode.c activates layer 5 at
             *         init); after a toggle the choice is restored on the next
             *         boot. Two states only. Safe here: only reachable while
             *         holding ⊃+f, so it can never fire during normal typing.
             * Backslash → OUT_TOG  (toggle USB / BLE output)
             * All other keys transparent.
             *
             * Encoder rotation deliberately has no sensor-bindings here — BT
             * profile cycling via the encoder was dropped (easy to overshoot
             * and disconnect; the discrete 1-8 keys cover it). Rotation falls
             * through to fn_layer's scroll behavior, same fallthrough already
             * accepted for this layer's &trans key positions. */
            bindings = <
/* Row 0 — BT management + Mac/PC mode switch */
&trans  &bt BT_SEL 0  &bt BT_SEL 1  &bt BT_SEL 2  &bt BT_SEL 3  &bt BT_SEL 4  &bt BT_CLR  &bt BT_NXT  &bt BT_PRV  &trans  &os_mode_toggle  &trans  &trans  &trans
/* Row 1 — backslash → OUT_TOG */
&trans  &trans  &trans  &trans  &trans  &trans  &trans  &trans  &trans  &trans  &trans  &trans  &trans  &out OUT_TOG
/* Row 2 — home row */
&trans  &trans  &trans  &trans  &trans  &trans  &trans  &trans  &trans  &trans  &trans  &trans  &trans
/* Row 3 */
&trans  &trans  &trans  &trans  &trans  &trans  &trans  &trans  &trans  &trans  &trans  &trans  &trans  &trans
/* Row 4 */
&trans  &trans  &trans  &trans  &trans  &trans  &trans  &trans  &trans  &trans  &trans  &trans  &trans
/* Row 5 — encoder push: no-op */
&none
            >;
        };

        esc_layer {
            display-name = "BRIGHT";
            /* Hold Esc to activate. Encoder only — all key positions &trans.
             *
             * Rotate: display brightness up/down (Consumer page — well
             * supported on macOS, frequently ignored by Windows for external
             * keyboards; that's a host-OS limitation, not a firmware bug).
             * Press: lock the screen. This is the Mac/default — &kp
             * LC(LG(Q)), Ctrl+Cmd+Q, the current default macOS lock shortcut
             * (verified — see commit history). PC mode needs a DIFFERENT
             * shortcut (Win+L) — that override lives on the pc_lock_layer
             * conditional layer (index 6, active only while BOTH esc_layer
             * and pc_mods are simultaneously active), NOT directly on
             * pc_mods itself. Reason: unlike the Row4 modifier positions
             * pc_mods overrides unconditionally, row5 (encoder push) has a
             * different valid meaning on every other layer (disp_cycle/
             * play-pause/middle-click/none) — a plain override on pc_mods
             * here would silently break &disp_cycle whenever PC mode is
             * toggled on, even without Esc held. See pc_lock_layer below for
             * the actual PC binding. (Previously locked... er, slept, via
             * &mac_sleep — dropped in favor of locking per user request.) */
            sensor-bindings = <&inc_dec_kp C_BRI_DN C_BRI_UP>;
            bindings = <
&trans  &trans  &trans  &trans  &trans  &trans  &trans  &trans  &trans  &trans  &trans  &trans  &trans  &trans
&trans  &trans  &trans  &trans  &trans  &trans  &trans  &trans  &trans  &trans  &trans  &trans  &trans  &trans
&trans  &trans  &trans  &trans  &trans  &trans  &trans  &trans  &trans  &trans  &trans  &trans  &trans
&trans  &trans  &trans  &trans  &trans  &trans  &trans  &trans  &trans  &trans  &trans  &trans  &trans  &trans
&trans  &trans  &trans  &trans  &trans  &trans  &trans  &trans  &trans  &trans  &trans  &trans  &trans
&kp LC(LG(Q))
            >;
        };

        pc_mods {
            display-name = "PC MODE";
            /* Toggled by &os_mode_toggle from device_layer's `0` key, and
             * active at boot by default (PRD v2 §2a). &trans everywhere
             * except the 4 modifier positions below — never bind anything else
             * on this layer (including row5/encoder push — see pc_lock_layer
             * below for why that's a separate conditional layer instead), it
             * stays active during normal typing and would shadow the base
             * layer (or, for row5, &disp_cycle) for as long as PC mode is on.
             *
             * Right `<>` (COL11) deliberately stays &trans (→ base LCTRL, i.e.
             * real Control) in both modes: macOS genuinely needs a Control key
             * (Ctrl+C/SIGINT, Ctrl+Tab, Spaces switching, emacs bindings) even
             * while Mac mode sends Cmd from left `<>`/`⌘` — do not "fix" that
             * asymmetry for consistency, it's the point. In
             * PC mode all three of `<>`/`<>`/`⌘` send Ctrl, matching a normal
             * PC keyboard. */
            bindings = <
&trans  &trans  &trans  &trans  &trans  &trans  &trans  &trans  &trans  &trans  &trans  &trans  &trans  &trans
&trans  &trans  &trans  &trans  &trans  &trans  &trans  &trans  &trans  &trans  &trans  &trans  &trans  &trans
&trans  &trans  &trans  &trans  &trans  &trans  &trans  &trans  &trans  &trans  &trans  &trans  &trans
&trans  &trans  &trans  &trans  &trans  &trans  &trans  &trans  &trans  &trans  &trans  &trans  &trans  &trans
&kp LCTRL  &kp LGUI  &trans  &kp LCTRL  &trans  &trans  &trans  &trans  &trans  &trans  &trans  &trans  &trans
&trans
            >;
        };

        pc_lock_layer {
            display-name = "PC LOCK";
            /* Conditional layer (index 6) — active only while esc_layer(4)
             * AND pc_mods(5) are BOTH active, i.e. holding Esc while already
             * toggled into PC mode. All &trans except row5 (encoder push):
             * Win+L, the standard Windows lock shortcut, overriding
             * esc_layer's Mac/default (Ctrl+Cmd+Q) only in this exact scoped
             * moment. See esc_layer's comment for why this can't just live
             * on pc_mods directly. */
            bindings = <
&trans  &trans  &trans  &trans  &trans  &trans  &trans  &trans  &trans  &trans  &trans  &trans  &trans  &trans
&trans  &trans  &trans  &trans  &trans  &trans  &trans  &trans  &trans  &trans  &trans  &trans  &trans  &trans
&trans  &trans  &trans  &trans  &trans  &trans  &trans  &trans  &trans  &trans  &trans  &trans  &trans
&trans  &trans  &trans  &trans  &trans  &trans  &trans  &trans  &trans  &trans  &trans  &trans  &trans  &trans
&trans  &trans  &trans  &trans  &trans  &trans  &trans  &trans  &trans  &trans  &trans  &trans  &trans
&kp LG(L)
            >;
        };

        /* Reserved for ZMK Studio expansion. NOTE: shifted from indices 3-5 to
         * 7-9 in this revision — run "Restore Stock Settings" in Studio after
         * flashing before re-customizing (see keymap header comment). */
        extra1 { status = "reserved"; };
        extra2 { status = "reserved"; };
        extra3 { status = "reserved"; };
    };
};
